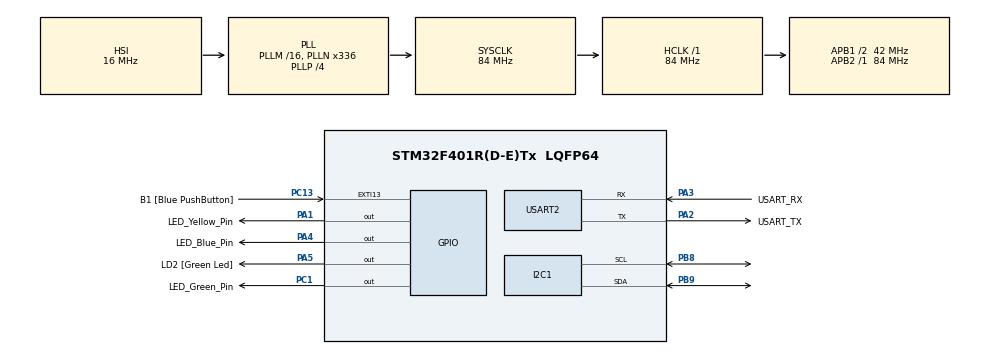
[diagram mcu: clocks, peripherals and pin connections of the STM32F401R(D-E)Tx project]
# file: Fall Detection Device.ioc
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Mcu.Family=STM32F4
Mcu.Name=STM32F401R(D-E)Tx
Mcu.Package=LQFP64
NVIC.PriorityGroup=NVIC_PRIORITYGROUP_0
PA1.GPIO_Label=LED_Yellow_Pin
PA1.Signal=GPIO_Output
PA13.GPIO_Label=TMS
PA13.Mode=Serial_Wire
PA13.Signal=SYS_JTMS-SWDIO
PA14.GPIO_Label=TCK
PA14.Mode=Serial_Wire
PA14.Signal=SYS_JTCK-SWCLK
PA2.GPIO_Label=USART_TX
PA2.GPIO_Mode=GPIO_MODE_AF_PP
PA2.GPIO_PuPd=GPIO_NOPULL
PA2.GPIO_Speed=GPIO_SPEED_FREQ_LOW
PA2.Mode=Asynchronous
PA2.Signal=USART2_TX
PA3.GPIO_Label=USART_RX
PA3.GPIO_Mode=GPIO_MODE_AF_PP
PA3.GPIO_PuPd=GPIO_NOPULL
PA3.GPIO_Speed=GPIO_SPEED_FREQ_LOW
PA3.Mode=Asynchronous
PA3.Signal=USART2_RX
PA4.GPIO_Label=LED_Blue_Pin
PA4.Signal=GPIO_Output
PA5.GPIO_Label=LD2 [Green Led]
PA5.GPIO_Mode=GPIO_MODE_OUTPUT_PP
PA5.GPIO_PuPd=GPIO_NOPULL
PA5.GPIO_Speed=GPIO_SPEED_FREQ_LOW
PA5.Signal=GPIO_Output
PB3.GPIO_Label=SWO
PB3.Signal=SYS_JTDO-SWO
PB8.Mode=I2C
PB8.Signal=I2C1_SCL
PB9.Mode=I2C
PB9.Signal=I2C1_SDA
PC1.GPIO_Label=LED_Green_Pin
PC1.Signal=GPIO_Output
PC13-ANTI_TAMP.GPIO_Label=B1 [Blue PushButton]
PC13-ANTI_TAMP.GPIO_ModeDefaultEXTI=GPIO_MODE_IT_FALLING
PC13-ANTI_TAMP.GPIO_PuPd=GPIO_NOPULL
PC13-ANTI_TAMP.Signal=GPXTI13
PC14-OSC32_IN.Mode=LSE-External-Oscillator
PC14-OSC32_IN.Signal=RCC_OSC32_IN
PC15-OSC32_OUT.Mode=LSE-External-Oscillator
PC15-OSC32_OUT.Signal=RCC_OSC32_OUT
PH0\ -\ OSC_IN.Mode=HSE-External-Clock-Source
PH0\ -\ OSC_IN.Signal=RCC_OSC_IN
PH1\ -\ OSC_OUT.Mode=HSE-External-Clock-Source
PH1\ -\ OSC_OUT.Signal=RCC_OSC_OUT
ProjectManager.HeapSize=0x200
ProjectManager.StackSize=0x400
ProjectManager.TargetToolchain=STM32CubeIDE
RCC.48MHZClocksFreq_Value=48000000
RCC.AHBFreq_Value=84000000
RCC.APB1CLKDivider=RCC_HCLK_DIV2
RCC.APB1Freq_Value=42000000
RCC.APB1TimFreq_Value=84000000
RCC.APB2Freq_Value=84000000
RCC.APB2TimFreq_Value=84000000
RCC.CortexFreq_Value=84000000
RCC.HCLKFreq_Value=84000000
RCC.HSE_VALUE=8000000
RCC.HSI_VALUE=16000000
RCC.PLLN=336
RCC.PLLP=RCC_PLLP_DIV4
RCC.PLLQ=7
RCC.SYSCLKFreq_VALUE=84000000
RCC.SYSCLKSource=RCC_SYSCLKSOURCE_PLLCLK
RCC.VCOOutputFreq_Value=336000000
USART2.VirtualMode=VM_ASYNC
board=NUCLEO-F401RE

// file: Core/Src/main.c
/* USER CODE BEGIN Header */
/**
  ******************************************************************************
  * @file           : main.c
  * @brief          : Main program body
  ******************************************************************************
  * @attention
  *
  * Copyright (c) 2023 STMicroelectronics.
  * All rights reserved.
  *
  * This software is licensed under terms that can be found in the LICENSE file
  * in the root directory of this software component.
  * If no LICENSE file comes with this software, it is provided AS-IS.
  *
  ******************************************************************************
  */
/* USER CODE END Header */
#include "main.h"

/* USER CODE BEGIN Includes */
#include <stdio.h>
#include "mpu6050.h"

/* USER CODE END Includes */

I2C_HandleTypeDef hi2c1;

UART_HandleTypeDef huart2;

void SystemClock_Config(void);
static void MX_GPIO_Init(void);
static void MX_USART2_UART_Init(void);
static void MX_I2C1_Init(void);

/* USER CODE BEGIN 0 */

int16_t counter_accel = 0;

int Acceleration_Thresold(void)
{
	if ((x_acc_g < -0.1 || x_acc_g > 0.1) && (y_acc_g < -0.1 || y_acc_g > 0.1) && (z_acc_g < 0.5 || z_acc_g > 1.5))
	{
		while (1)
		{
			  HAL_GPIO_TogglePin(LED_Green_Pin_GPIO_Port, LED_Green_Pin_Pin);
			  HAL_Delay(500);

			  counter_accel++;

			  if (counter_accel >= 18)
				{
					while (1)
					{
						HAL_GPIO_TogglePin(LED_Blue_Pin_GPIO_Port, LED_Blue_Pin_Pin);
					}
				}
		}
	}
	return 0;
}

int counter_emergency = 0;
int Emergency_Button(void)
{
	  if (HAL_GPIO_ReadPin(GPIOC, GPIO_PIN_13)== GPIO_PIN_RESET)
	  {
		  while(1)
		  {
			  HAL_GPIO_TogglePin(LED_Yellow_Pin_GPIO_Port, LED_Yellow_Pin_Pin);
			  HAL_Delay(500);

			  counter_emergency++;

			  if (counter_emergency >= 8)
			  {
				  while (1)
				  {
					  HAL_GPIO_TogglePin(LED_Blue_Pin_GPIO_Port, LED_Blue_Pin_Pin);
				  }
			  }

		  }
	  }
		  return 0;
}

/* USER CODE END 0 */

int main(void)
{

  /* MCU Configuration--------------------------------------------------------*/

  /* Reset of all peripherals, Initializes the Flash interface and the Systick. */
  HAL_Init();

  /* Configure the system clock */
  SystemClock_Config();

  /* Initialize all configured peripherals */
  MX_GPIO_Init();
  MX_USART2_UART_Init();
  MX_I2C1_Init();
  /* USER CODE BEGIN 2 */

  mpu6050_init();
  /* USER CODE END 2 */

  /* Infinite loop */
  /* USER CODE BEGIN WHILE */
  while (1)
  {

	  Acceleration_Thresold();
	  Emergency_Button();

	  mpu6050_read();
	  HAL_Delay(1000);
    /* USER CODE END WHILE */

  }
}

void SystemClock_Config(void)
{
  RCC_OscInitTypeDef RCC_OscInitStruct = {0};
  RCC_ClkInitTypeDef RCC_ClkInitStruct = {0};

  /** Configure the main internal regulator output voltage
  */
  __HAL_RCC_PWR_CLK_ENABLE();
  __HAL_PWR_VOLTAGESCALING_CONFIG(PWR_REGULATOR_VOLTAGE_SCALE2);

  /** Initializes the RCC Oscillators according to the specified parameters
  * in the RCC_OscInitTypeDef structure.
  */
  RCC_OscInitStruct.OscillatorType = RCC_OSCILLATORTYPE_HSI;
  RCC_OscInitStruct.HSIState = RCC_HSI_ON;
  RCC_OscInitStruct.HSICalibrationValue = RCC_HSICALIBRATION_DEFAULT;
  RCC_OscInitStruct.PLL.PLLState = RCC_PLL_ON;
  RCC_OscInitStruct.PLL.PLLSource = RCC_PLLSOURCE_HSI;
  RCC_OscInitStruct.PLL.PLLM = 16;
  RCC_OscInitStruct.PLL.PLLN = 336;
  RCC_OscInitStruct.PLL.PLLP = RCC_PLLP_DIV4;
  RCC_OscInitStruct.PLL.PLLQ = 7;
  if (HAL_RCC_OscConfig(&RCC_OscInitStruct) != HAL_OK)
  {
    Error_Handler();
  }

  /** Initializes the CPU, AHB and APB buses clocks
  */
  RCC_ClkInitStruct.ClockType = RCC_CLOCKTYPE_HCLK|RCC_CLOCKTYPE_SYSCLK
                              |RCC_CLOCKTYPE_PCLK1|RCC_CLOCKTYPE_PCLK2;
  RCC_ClkInitStruct.SYSCLKSource = RCC_SYSCLKSOURCE_PLLCLK;
  RCC_ClkInitStruct.AHBCLKDivider = RCC_SYSCLK_DIV1;
  RCC_ClkInitStruct.APB1CLKDivider = RCC_HCLK_DIV2;
  RCC_ClkInitStruct.APB2CLKDivider = RCC_HCLK_DIV1;

  if (HAL_RCC_ClockConfig(&RCC_ClkInitStruct, FLASH_LATENCY_2) != HAL_OK)
  {
    Error_Handler();
  }
}

static void MX_I2C1_Init(void)
{

  hi2c1.Instance = I2C1;
  hi2c1.Init.ClockSpeed = 100000;
  hi2c1.Init.DutyCycle = I2C_DUTYCYCLE_2;
  hi2c1.Init.OwnAddress1 = 0;
  hi2c1.Init.AddressingMode = I2C_ADDRESSINGMODE_7BIT;
  hi2c1.Init.DualAddressMode = I2C_DUALADDRESS_DISABLE;
  hi2c1.Init.OwnAddress2 = 0;
  hi2c1.Init.GeneralCallMode = I2C_GENERALCALL_DISABLE;
  hi2c1.Init.NoStretchMode = I2C_NOSTRETCH_DISABLE;
  if (HAL_I2C_Init(&hi2c1) != HAL_OK)
  {
    Error_Handler();
  }

}

static void MX_USART2_UART_Init(void)
{

  huart2.Instance = USART2;
  huart2.Init.BaudRate = 115200;
  huart2.Init.WordLength = UART_WORDLENGTH_8B;
  huart2.Init.StopBits = UART_STOPBITS_1;
  huart2.Init.Parity = UART_PARITY_NONE;
  huart2.Init.Mode = UART_MODE_TX_RX;
  huart2.Init.HwFlowCtl = UART_HWCONTROL_NONE;
  huart2.Init.OverSampling = UART_OVERSAMPLING_16;
  if (HAL_UART_Init(&huart2) != HAL_OK)
  {
    Error_Handler();
  }

}

static void MX_GPIO_Init(void)
{
  GPIO_InitTypeDef GPIO_InitStruct = {0};

  /* GPIO Ports Clock Enable */
  __HAL_RCC_GPIOC_CLK_ENABLE();
  __HAL_RCC_GPIOH_CLK_ENABLE();
  __HAL_RCC_GPIOA_CLK_ENABLE();
  __HAL_RCC_GPIOB_CLK_ENABLE();

  /*Configure GPIO pin Output Level */
  HAL_GPIO_WritePin(LED_Green_Pin_GPIO_Port, LED_Green_Pin_Pin, GPIO_PIN_RESET);

  /*Configure GPIO pin Output Level */
  HAL_GPIO_WritePin(GPIOA, LED_Yellow_Pin_Pin|LED_Blue_Pin_Pin|LD2_Pin, GPIO_PIN_RESET);

  /*Configure GPIO pin : B1_Pin */
  GPIO_InitStruct.Pin = B1_Pin;
  GPIO_InitStruct.Mode = GPIO_MODE_IT_FALLING;
  GPIO_InitStruct.Pull = GPIO_NOPULL;
  HAL_GPIO_Init(B1_GPIO_Port, &GPIO_InitStruct);

  /*Configure GPIO pin : LED_Green_Pin_Pin */
  GPIO_InitStruct.Pin = LED_Green_Pin_Pin;
  GPIO_InitStruct.Mode = GPIO_MODE_OUTPUT_PP;
  GPIO_InitStruct.Pull = GPIO_NOPULL;
  GPIO_InitStruct.Speed = GPIO_SPEED_FREQ_LOW;
  HAL_GPIO_Init(LED_Green_Pin_GPIO_Port, &GPIO_InitStruct);

  /*Configure GPIO pins : LED_Yellow_Pin_Pin LED_Blue_Pin_Pin LD2_Pin */
  GPIO_InitStruct.Pin = LED_Yellow_Pin_Pin|LED_Blue_Pin_Pin|LD2_Pin;
  GPIO_InitStruct.Mode = GPIO_MODE_OUTPUT_PP;
  GPIO_InitStruct.Pull = GPIO_NOPULL;
  GPIO_InitStruct.Speed = GPIO_SPEED_FREQ_LOW;
  HAL_GPIO_Init(GPIOA, &GPIO_InitStruct);

}

/* USER CODE BEGIN 4 */
int _write(int file, char *ptr, int len)
{
  (void)file;
  int DataIdx;

  for (DataIdx = 0; DataIdx < len; DataIdx++)
  {
    ITM_SendChar(*ptr++);
  }
  return len;
}

/* USER CODE END 4 */

void Error_Handler(void)
{
  __disable_irq();
  while (1)
  {
  }
}
